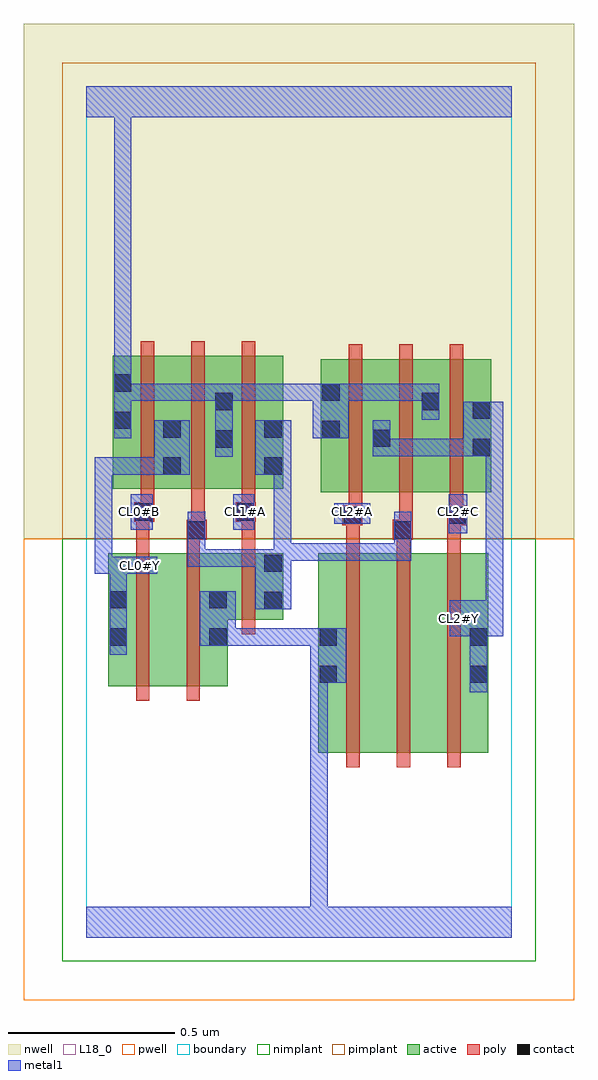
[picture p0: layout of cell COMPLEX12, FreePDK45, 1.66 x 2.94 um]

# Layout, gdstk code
import gdstk
lib = gdstk.Library(unit=1e-6, precision=1e-09)
def R(c, l, rs):  # rectangles x0, y0, x1, y1
    for r in rs: c.add(gdstk.rectangle(r[:2], r[2:], *l))
def A(c, l, x, y, w, h, nx, ny, dx, dy):  # array of equal rectangles
    R(c, l, [(x+i*dx, y+j*dy, x+i*dx+w, y+j*dy+h) for i in range(nx) for j in range(ny)])
active = (1, 0)
pwell = (2, 0)
nwell = (3, 0)
nimplant = (4, 0)
pimplant = (5, 0)
poly = (9, 0)
contact = (10, 0)
metal1 = (11, 0)
L18_0 = (18, 0)
boundary = (235, 0)

complex12 = lib.new_cell('COMPLEX12')
R(complex12, active, [(0.698,0.556,0.758,1.156), (0.698,0.556,0.878,1.156), (0.878,0.556,1.03,1.156), (1.03,0.556,1.21,1.156), (1.15,0.556,1.21,1.156), (0.066,0.756,0.126,1.156), (0.066,0.756,0.246,1.156), (0.246,0.756,0.426,1.156), (0.366,0.756,0.426,1.156), (0.366,0.956,0.592,1.156), (0.532,0.956,0.592,1.156), (0.706,1.34,0.766,1.74), (0.706,1.34,0.918,1.74), (0.858,1.34,1.066,1.74), (1.006,1.34,1.218,1.74), (1.158,1.34,1.218,1.74), (0.08,1.35,0.14,1.75), (0.08,1.35,0.288,1.75), (0.228,1.35,0.288,1.75), (0.228,1.35,0.444,1.75), (0.384,1.35,0.592,1.75), (0.532,1.35,0.592,1.644), (1.006,1.444,1.066,1.74), (0.384,1.47,0.444,1.644), (0.858,1.472,0.918,1.644)])
R(complex12, pwell, [(-0.188,-0.188,1.468,1.2)])
R(complex12, nwell, [(-0.188,1.2,1.468,2.748)])
R(complex12, nimplant, [(-0.072,-0.072,1.352,1.2)])
R(complex12, pimplant, [(-0.072,1.2,1.352,2.632)])
A(complex12, poly, 0.782, 0.512, 0.04, 0.688, 3, 1, 0.152, 0)
A(complex12, poly, 0.79, 1.296, 0.04, 0.488, 3, 1, 0.152, 0)
A(complex12, poly, 0.164, 1.306, 0.04, 0.488, 3, 1, 0.152, 0)
R(complex12, poly, [(0.15,0.712,0.19,1.2), (0.302,0.712,0.342,1.2), (0.468,0.912,0.508,1.2), (0.15,1.16,0.19,1.29), (0.302,1.16,0.342,1.236), (0.468,1.16,0.508,1.29), (0.782,1.16,0.822,1.28), (0.934,1.16,0.974,1.236), (1.086,1.16,1.126,1.28), (0.302,1.196,0.362,1.256), (0.922,1.196,0.982,1.256), (0.316,1.216,0.356,1.256), (0.316,1.216,0.356,1.256), (0.316,1.216,0.356,1.346), (0.942,1.216,0.982,1.256), (0.942,1.216,0.982,1.256), (0.942,1.216,0.982,1.336), (0.77,1.24,0.83,1.3), (0.782,1.24,0.822,1.28), (0.782,1.24,0.822,1.28), (1.086,1.24,1.126,1.28), (1.086,1.24,1.126,1.28), (1.086,1.24,1.146,1.3), (0.144,1.25,0.204,1.31), (0.15,1.25,0.19,1.29), (0.15,1.25,0.19,1.29), (0.45,1.25,0.51,1.31), (0.468,1.25,0.508,1.29), (0.468,1.25,0.508,1.29), (0.79,1.26,0.83,1.336), (1.094,1.26,1.134,1.336), (0.164,1.27,0.204,1.346), (0.468,1.27,0.508,1.346)])
R(complex12, contact, [(0.702,0.766,0.754,0.818), (1.154,0.766,1.206,0.818), (0.07,0.878,0.122,0.93), (0.37,0.878,0.422,0.93), (0.702,0.878,0.754,0.93), (1.154,0.878,1.206,0.93), (0.536,0.988,0.588,1.04), (0.07,0.99,0.122,1.042), (0.37,0.99,0.422,1.042), (0.536,1.1,0.588,1.152), (0.306,1.2,0.358,1.252), (0.926,1.2,0.978,1.252), (0.774,1.244,0.826,1.296), (1.09,1.244,1.142,1.296), (0.148,1.254,0.2,1.306), (0.454,1.254,0.506,1.306), (0.232,1.392,0.284,1.444), (0.536,1.392,0.588,1.444), (1.162,1.448,1.214,1.5), (0.388,1.474,0.44,1.526), (0.862,1.476,0.914,1.528), (0.71,1.502,0.762,1.554), (0.232,1.504,0.284,1.556), (0.536,1.504,0.588,1.556), (0.084,1.53,0.136,1.582), (1.162,1.56,1.214,1.612), (0.388,1.586,0.44,1.638), (1.01,1.586,1.062,1.638), (0.71,1.614,0.762,1.666), (0.084,1.642,0.136,1.694)])
R(complex12, metal1, [(0,0,1.28,0.092), (0.674,0.04,0.726,0.092), (0.674,0.04,0.726,0.092), (0.674,0.04,0.726,0.092), (0.674,0.04,0.726,0.092), (0.674,0.04,0.726,0.092), (0.674,0.04,0.726,0.092), (0.674,0.04,0.726,0.092), (0.674,0.04,0.726,0.092), (0.674,0.04,0.726,0.818), (1.154,0.738,1.206,0.958), (0.674,0.766,0.782,0.93), (0.07,0.85,0.122,1.07), (0.342,0.878,0.45,1.042), (0.398,0.878,0.56,0.93), (0.508,0.878,0.56,0.93), (0.508,0.878,0.56,0.93), (0.508,0.878,0.56,0.93), (0.508,0.878,0.56,0.93), (0.508,0.878,0.56,0.93), (0.508,0.878,0.56,0.93), (0.508,0.878,0.56,0.93), (0.508,0.878,0.726,0.93), (1.094,0.906,1.254,1.014), (1.154,0.906,1.206,0.958), (1.202,0.962,1.254,1.5), (1.202,0.962,1.254,1.014), (1.202,0.962,1.254,1.014), (0.508,0.988,0.616,1.152), (0.07,1.018,0.122,1.146), (0.026,1.094,0.078,1.146), (0.026,1.094,0.078,1.146), (0.026,1.094,0.214,1.146), (0.026,1.094,0.078,1.444), (0.564,1.1,0.616,1.168), (0.306,1.116,0.358,1.224), (0.306,1.116,0.616,1.168), (0.564,1.116,0.616,1.168), (0.564,1.116,0.616,1.168), (0.564,1.116,0.616,1.186), (0.564,1.134,0.616,1.186), (0.564,1.134,0.616,1.186), (0.564,1.134,0.726,1.186), (0.564,1.134,0.616,1.444), (0.674,1.134,0.726,1.186), (0.674,1.134,0.726,1.186), (0.674,1.134,0.726,1.186), (0.674,1.134,0.9,1.186), (0.848,1.134,0.9,1.186), (0.848,1.134,0.978,1.186), (0.926,1.134,0.978,1.28), (0.306,1.172,0.358,1.224), (0.306,1.172,0.358,1.28), (1.09,1.216,1.146,1.334), (0.134,1.226,0.2,1.334), (0.442,1.226,0.506,1.334), (0.746,1.244,0.854,1.306), (0.026,1.392,0.078,1.444), (0.026,1.392,0.078,1.444), (0.026,1.392,0.078,1.444), (0.026,1.392,0.256,1.444), (0.204,1.392,0.312,1.556), (0.508,1.392,0.616,1.556), (0.388,1.446,0.44,1.666), (0.862,1.448,0.914,1.5), (0.862,1.448,0.914,1.5), (0.862,1.448,0.914,1.556), (0.862,1.448,1.036,1.5), (0.984,1.448,1.186,1.5), (0.984,1.448,1.036,1.5), (0.984,1.448,1.036,1.5), (0.984,1.448,1.036,1.5), (1.134,1.448,1.254,1.612), (0.084,1.502,0.136,1.722), (0.682,1.502,0.79,1.666), (1.01,1.558,1.062,1.666), (0.084,1.614,0.136,1.666), (0.084,1.614,0.136,1.666), (0.084,1.614,0.246,1.666), (0.194,1.614,0.246,1.666), (0.194,1.614,0.246,1.666), (0.194,1.614,0.246,1.666), (0.194,1.614,0.44,1.666), (0.388,1.614,0.56,1.666), (0.508,1.614,0.56,1.666), (0.508,1.614,0.56,1.666), (0.508,1.614,0.56,1.666), (0.508,1.614,0.734,1.666), (0.738,1.614,0.79,1.666), (0.738,1.614,0.79,1.666), (0.738,1.614,0.926,1.666), (0.874,1.614,0.926,1.666), (0.874,1.614,0.926,1.666), (0.874,1.614,0.926,1.666), (0.874,1.614,1.062,1.666), (0.084,1.67,0.136,1.722), (0.084,1.67,0.136,1.722), (0.084,1.67,0.136,2.52), (0,2.468,1.28,2.56), (0.084,2.468,0.136,2.52), (0.084,2.468,0.136,2.52), (0.084,2.468,0.136,2.52), (0.084,2.468,0.136,2.52), (0.084,2.468,0.136,2.52), (0.084,2.468,0.136,2.52), (0.084,2.468,0.136,2.52), (0.084,2.468,0.136,2.52), (0.084,2.468,0.136,2.52), (0.084,2.468,0.136,2.52), (0.084,2.468,0.136,2.52), (0.084,2.468,0.136,2.52), (0.084,2.468,0.136,2.52), (0.084,2.468,0.136,2.52)])
A(complex12, L18_0, 0.134, 1.254, 0.052, 0.052, 4, 1, 0.32, 0)
R(complex12, L18_0, [(0,0,1.28,0.092), (0.674,0.04,0.726,0.092), (0.674,0.04,0.726,0.092), (0.674,0.04,0.726,0.092), (0.674,0.04,0.726,0.092), (0.674,0.04,0.726,0.092), (0.674,0.04,0.726,0.092), (0.674,0.04,0.726,0.092), (0.674,0.04,0.726,0.092), (0.674,0.04,0.726,0.818), (1.154,0.738,1.206,0.958), (0.674,0.766,0.782,0.93), (0.07,0.85,0.122,1.07), (0.342,0.878,0.45,1.042), (0.398,0.878,0.56,0.93), (0.508,0.878,0.56,0.93), (0.508,0.878,0.56,0.93), (0.508,0.878,0.56,0.93), (0.508,0.878,0.56,0.93), (0.508,0.878,0.56,0.93), (0.508,0.878,0.56,0.93), (0.508,0.878,0.56,0.93), (0.508,0.878,0.726,0.93), (1.094,0.906,1.254,1.014), (1.154,0.906,1.206,0.958), (1.094,0.934,1.146,0.986), (1.202,0.962,1.254,1.014), (1.202,0.962,1.254,1.014), (1.202,0.962,1.254,1.5), (0.07,1.018,0.122,1.146), (0.026,1.094,0.214,1.146), (0.026,1.094,0.078,1.146), (0.026,1.094,0.078,1.146), (0.026,1.094,0.078,1.444), (0.134,1.094,0.186,1.146), (1.09,1.216,1.146,1.334), (0.134,1.226,0.2,1.334), (0.442,1.226,0.506,1.334), (0.746,1.244,0.854,1.306), (0.026,1.392,0.078,1.444), (0.026,1.392,0.078,1.444), (0.026,1.392,0.078,1.444), (0.026,1.392,0.256,1.444), (0.204,1.392,0.312,1.556), (0.388,1.446,0.44,1.666), (0.862,1.448,0.914,1.5), (0.862,1.448,0.914,1.5), (0.862,1.448,0.914,1.556), (0.862,1.448,1.036,1.5), (0.984,1.448,1.036,1.5), (0.984,1.448,1.036,1.5), (0.984,1.448,1.036,1.5), (0.984,1.448,1.186,1.5), (1.134,1.448,1.254,1.612), (0.084,1.502,0.136,1.722), (0.682,1.502,0.79,1.666), (1.01,1.558,1.062,1.666), (0.084,1.614,0.136,1.666), (0.084,1.614,0.136,1.666), (0.084,1.614,0.246,1.666), (0.194,1.614,0.246,1.666), (0.194,1.614,0.246,1.666), (0.194,1.614,0.246,1.666), (0.194,1.614,0.44,1.666), (0.388,1.614,0.56,1.666), (0.508,1.614,0.56,1.666), (0.508,1.614,0.56,1.666), (0.508,1.614,0.56,1.666), (0.508,1.614,0.734,1.666), (0.738,1.614,0.926,1.666), (0.738,1.614,0.79,1.666), (0.738,1.614,0.79,1.666), (0.874,1.614,1.062,1.666), (0.874,1.614,0.926,1.666), (0.874,1.614,0.926,1.666), (0.874,1.614,0.926,1.666), (0.084,1.67,0.136,1.722), (0.084,1.67,0.136,1.722), (0.084,1.67,0.136,2.52), (0,2.468,1.28,2.56), (0.084,2.468,0.136,2.52), (0.084,2.468,0.136,2.52), (0.084,2.468,0.136,2.52), (0.084,2.468,0.136,2.52), (0.084,2.468,0.136,2.52), (0.084,2.468,0.136,2.52), (0.084,2.468,0.136,2.52), (0.084,2.468,0.136,2.52), (0.084,2.468,0.136,2.52), (0.084,2.468,0.136,2.52), (0.084,2.468,0.136,2.52), (0.084,2.468,0.136,2.52), (0.084,2.468,0.136,2.52), (0.084,2.468,0.136,2.52)])
R(complex12, boundary, [(0,0,1.28,2.56)])
complex12.add(gdstk.Label('CL0#B', (0.16,1.28), layer=11, texttype=0))
complex12.add(gdstk.Label('CL0#Y', (0.16,1.12), layer=11, texttype=0))
complex12.add(gdstk.Label('CL1#A', (0.48,1.28), layer=11, texttype=0))
complex12.add(gdstk.Label('CL2#A', (0.8,1.28), layer=11, texttype=0))
complex12.add(gdstk.Label('CL2#C', (1.12,1.28), layer=11, texttype=0))
complex12.add(gdstk.Label('CL2#Y', (1.12,0.96), layer=11, texttype=0))

lib.write_gds('COMPLEX12.gds')
